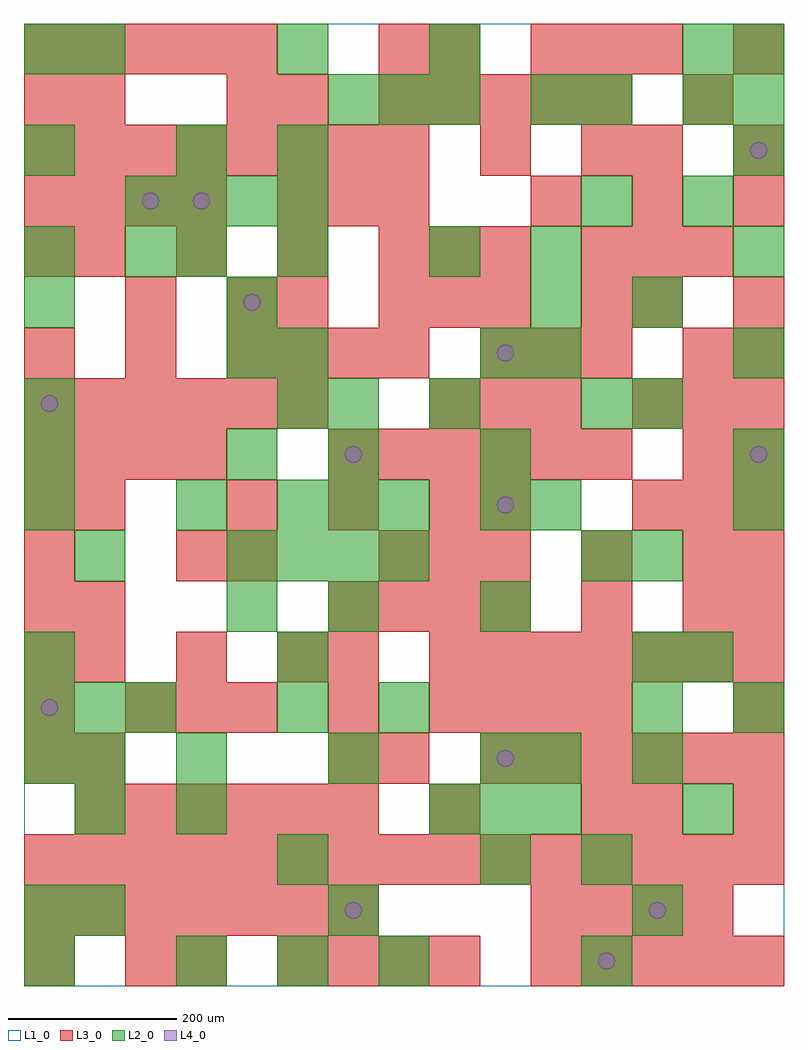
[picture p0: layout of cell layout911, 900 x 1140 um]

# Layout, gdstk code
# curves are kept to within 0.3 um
import gdstk
lib = gdstk.Library(unit=1e-6, precision=1e-09)
def R(c, l, rs):  # rectangles x0, y0, x1, y1
    for r in rs: c.add(gdstk.rectangle(r[:2], r[2:], *l))
def A(c, l, x, y, w, h, nx, ny, dx, dy):  # array of equal rectangles
    R(c, l, [(x+i*dx, y+j*dy, x+i*dx+w, y+j*dy+h) for i in range(nx) for j in range(ny)])
def P(c, l, *ps):  # polygons
    for p in ps: c.add(gdstk.Polygon(p, *l))
L1_0 = (1, 0)
L2_0 = (2, 0)
L3_0 = (3, 0)
L4_0 = (4, 0)

layout911 = lib.new_cell('layout911')
R(layout911, L1_0, [(0,0,900,1140)])
A(layout911, L2_0, 180, 0, 60, 60, 3, 1, 120, 0)
A(layout911, L2_0, 480, 180, 60, 60, 3, 1, 60, 0)
A(layout911, L2_0, 180, 240, 60, 60, 3, 1, 180, 0)
A(layout911, L2_0, 720, 240, 60, 60, 1, 3, 0, 60)
A(layout911, L2_0, 0, 300, 60, 60, 3, 1, 60, 0)
A(layout911, L2_0, 240, 480, 60, 60, 4, 1, 60, 0)
A(layout911, L2_0, 0, 540, 60, 60, 1, 3, 0, 60)
A(layout911, L2_0, 300, 540, 60, 60, 3, 1, 60, 0)
A(layout911, L2_0, 840, 600, 60, 60, 1, 4, 0, 120)
A(layout911, L2_0, 300, 720, 60, 60, 1, 4, 0, 120)
A(layout911, L2_0, 600, 720, 60, 60, 1, 3, 0, 60)
A(layout911, L2_0, 0, 840, 60, 60, 1, 3, 0, 120)
A(layout911, L2_0, 120, 900, 60, 60, 4, 1, 60, 0)
A(layout911, L2_0, 360, 1020, 60, 60, 3, 1, 60, 0)
R(layout911, L2_0, [(0,0,60,60), (660,0,720,60), (0,60,60,120), (60,60,120,120), (360,60,420,120), (720,60,780,120), (300,120,360,180), (540,120,600,180), (660,120,720,180), (60,180,120,240), (180,180,240,240), (780,180,840,240), (0,240,60,300), (60,240,120,300), (600,240,660,300), (300,300,360,360), (420,300,480,360), (840,300,900,360), (0,360,60,420), (300,360,360,420), (780,360,840,420), (240,420,300,480), (360,420,420,480), (540,420,600,480), (60,480,120,540), (660,480,720,540), (720,480,780,540), (180,540,240,600), (540,540,600,600), (600,540,660,600), (840,540,900,600), (240,600,300,660), (360,600,420,660), (540,600,600,660), (300,660,360,720), (360,660,420,720), (480,660,540,720), (660,660,720,720), (720,660,780,720), (240,720,300,780), (540,720,600,780), (0,780,60,840), (240,780,300,840), (720,780,780,840), (120,840,180,900), (180,840,240,900), (480,840,540,900), (660,900,720,960), (780,900,840,960), (180,960,240,1020), (600,1020,660,1080), (660,1020,720,1080), (780,1020,840,1080), (840,1020,900,1080), (60,1080,120,1140), (480,1080,540,1140), (780,1080,840,1140), (840,1080,900,1140)])
A(layout911, L3_0, 300, 0, 60, 60, 4, 1, 60, 0)
A(layout911, L3_0, 600, 0, 60, 60, 5, 1, 60, 0)
A(layout911, L3_0, 0, 60, 60, 60, 7, 1, 60, 0)
A(layout911, L3_0, 600, 60, 60, 60, 4, 1, 60, 0)
A(layout911, L3_0, 0, 120, 60, 60, 15, 1, 60, 0)
A(layout911, L3_0, 60, 180, 60, 60, 6, 1, 60, 0)
A(layout911, L3_0, 840, 180, 60, 60, 1, 3, 0, 120)
A(layout911, L3_0, 0, 240, 60, 60, 1, 6, 0, 60)
A(layout911, L3_0, 360, 240, 60, 60, 1, 3, 0, 60)
A(layout911, L3_0, 540, 240, 60, 60, 6, 1, 60, 0)
A(layout911, L3_0, 120, 300, 60, 60, 3, 1, 60, 0)
A(layout911, L3_0, 480, 300, 60, 60, 4, 1, 60, 0)
A(layout911, L3_0, 60, 360, 60, 60, 3, 1, 120, 0)
A(layout911, L3_0, 480, 360, 60, 60, 7, 1, 60, 0)
A(layout911, L3_0, 360, 420, 60, 60, 4, 1, 60, 0)
A(layout911, L3_0, 420, 480, 60, 60, 3, 2, 60, 300)
A(layout911, L3_0, 780, 480, 60, 60, 1, 3, 0, 120)
A(layout911, L3_0, 840, 480, 60, 60, 1, 3, 0, 120)
A(layout911, L3_0, 240, 540, 60, 60, 3, 1, 120, 0)
A(layout911, L3_0, 720, 540, 60, 60, 3, 2, 60, 120)
A(layout911, L3_0, 0, 600, 60, 60, 4, 2, 60, 300)
A(layout911, L3_0, 360, 600, 60, 60, 6, 1, 60, 0)
A(layout911, L3_0, 0, 660, 60, 60, 6, 1, 60, 0)
A(layout911, L3_0, 480, 660, 60, 60, 3, 1, 60, 0)
A(layout911, L3_0, 0, 720, 60, 60, 3, 1, 120, 0)
A(layout911, L3_0, 300, 720, 60, 60, 3, 2, 60, 180)
A(layout911, L3_0, 540, 720, 60, 60, 3, 1, 60, 0)
A(layout911, L3_0, 60, 840, 60, 60, 4, 1, 120, 0)
A(layout911, L3_0, 660, 840, 60, 60, 3, 1, 60, 0)
A(layout911, L3_0, 600, 900, 60, 60, 3, 1, 120, 0)
A(layout911, L3_0, 0, 960, 60, 60, 8, 1, 60, 0)
A(layout911, L3_0, 420, 1020, 60, 60, 5, 1, 60, 0)
A(layout911, L3_0, 0, 1080, 60, 60, 5, 1, 60, 0)
A(layout911, L3_0, 600, 1080, 60, 60, 3, 1, 60, 0)
R(layout911, L3_0, [(0,0,60,60), (120,0,180,60), (180,0,240,60), (480,180,540,240), (660,180,720,240), (720,180,780,240), (60,240,120,300), (420,240,480,300), (60,420,120,480), (660,420,720,480), (780,420,840,480), (180,480,240,540), (240,480,300,540), (660,480,720,540), (60,540,120,600), (540,540,600,600), (120,780,180,840), (240,780,300,840), (300,780,360,840), (660,780,720,840), (720,780,780,840), (840,780,900,840), (0,840,60,900), (480,840,540,900), (540,840,600,900), (540,960,600,1020), (660,960,720,1020), (720,960,780,1020), (840,960,900,1020), (0,1020,60,1080), (60,1020,120,1080), (240,1020,300,1080), (300,1020,360,1080), (780,1020,840,1080), (420,1080,480,1140), (480,1080,540,1140), (840,1080,900,1140)])
P(layout911, L4_0, [(40,330),(39.239,333.827),(37.071,337.071),(33.827,339.239),(30,340),(26.173,339.239),(22.929,337.071),(20.761,333.827),(20,330),(20.761,326.173),(22.929,322.929),(26.173,320.761),(30,320),(33.827,320.761),(37.071,322.929),(39.239,326.173)],
  [(40,690),(39.239,693.827),(37.071,697.071),(33.827,699.239),(30,700),(26.173,699.239),(22.929,697.071),(20.761,693.827),(20,690),(20.761,686.173),(22.929,682.929),(26.173,680.761),(30,680),(33.827,680.761),(37.071,682.929),(39.239,686.173)],
  [(160,930),(159.239,933.827),(157.071,937.071),(153.827,939.239),(150,940),(146.173,939.239),(142.929,937.071),(140.761,933.827),(140,930),(140.761,926.173),(142.929,922.929),(146.173,920.761),(150,920),(153.827,920.761),(157.071,922.929),(159.239,926.173)],
  [(220,930),(219.239,933.827),(217.071,937.071),(213.827,939.239),(210,940),(206.173,939.239),(202.929,937.071),(200.761,933.827),(200,930),(200.761,926.173),(202.929,922.929),(206.173,920.761),(210,920),(213.827,920.761),(217.071,922.929),(219.239,926.173)],
  [(280,810),(279.239,813.827),(277.071,817.071),(273.827,819.239),(270,820),(266.173,819.239),(262.929,817.071),(260.761,813.827),(260,810),(260.761,806.173),(262.929,802.929),(266.173,800.761),(270,800),(273.827,800.761),(277.071,802.929),(279.239,806.173)],
  [(400,90),(399.239,93.827),(397.071,97.071),(393.827,99.239),(390,100),(386.173,99.239),(382.929,97.071),(380.761,93.827),(380,90),(380.761,86.173),(382.929,82.929),(386.173,80.761),(390,80),(393.827,80.761),(397.071,82.929),(399.239,86.173)],
  [(400,630),(399.239,633.827),(397.071,637.071),(393.827,639.239),(390,640),(386.173,639.239),(382.929,637.071),(380.761,633.827),(380,630),(380.761,626.173),(382.929,622.929),(386.173,620.761),(390,620),(393.827,620.761),(397.071,622.929),(399.239,626.173)],
  [(580,270),(579.239,273.827),(577.071,277.071),(573.827,279.239),(570,280),(566.173,279.239),(562.929,277.071),(560.761,273.827),(560,270),(560.761,266.173),(562.929,262.929),(566.173,260.761),(570,260),(573.827,260.761),(577.071,262.929),(579.239,266.173)],
  [(580,570),(579.239,573.827),(577.071,577.071),(573.827,579.239),(570,580),(566.173,579.239),(562.929,577.071),(560.761,573.827),(560,570),(560.761,566.173),(562.929,562.929),(566.173,560.761),(570,560),(573.827,560.761),(577.071,562.929),(579.239,566.173)],
  [(580,750),(579.239,753.827),(577.071,757.071),(573.827,759.239),(570,760),(566.173,759.239),(562.929,757.071),(560.761,753.827),(560,750),(560.761,746.173),(562.929,742.929),(566.173,740.761),(570,740),(573.827,740.761),(577.071,742.929),(579.239,746.173)],
  [(700,30),(699.239,33.827),(697.071,37.071),(693.827,39.239),(690,40),(686.173,39.239),(682.929,37.071),(680.761,33.827),(680,30),(680.761,26.173),(682.929,22.929),(686.173,20.761),(690,20),(693.827,20.761),(697.071,22.929),(699.239,26.173)],
  [(760,90),(759.239,93.827),(757.071,97.071),(753.827,99.239),(750,100),(746.173,99.239),(742.929,97.071),(740.761,93.827),(740,90),(740.761,86.173),(742.929,82.929),(746.173,80.761),(750,80),(753.827,80.761),(757.071,82.929),(759.239,86.173)],
  [(880,630),(879.239,633.827),(877.071,637.071),(873.827,639.239),(870,640),(866.173,639.239),(862.929,637.071),(860.761,633.827),(860,630),(860.761,626.173),(862.929,622.929),(866.173,620.761),(870,620),(873.827,620.761),(877.071,622.929),(879.239,626.173)],
  [(880,990),(879.239,993.827),(877.071,997.071),(873.827,999.239),(870,1000),(866.173,999.239),(862.929,997.071),(860.761,993.827),(860,990),(860.761,986.173),(862.929,982.929),(866.173,980.761),(870,980),(873.827,980.761),(877.071,982.929),(879.239,986.173)])

lib.write_gds('layout911.gds')
